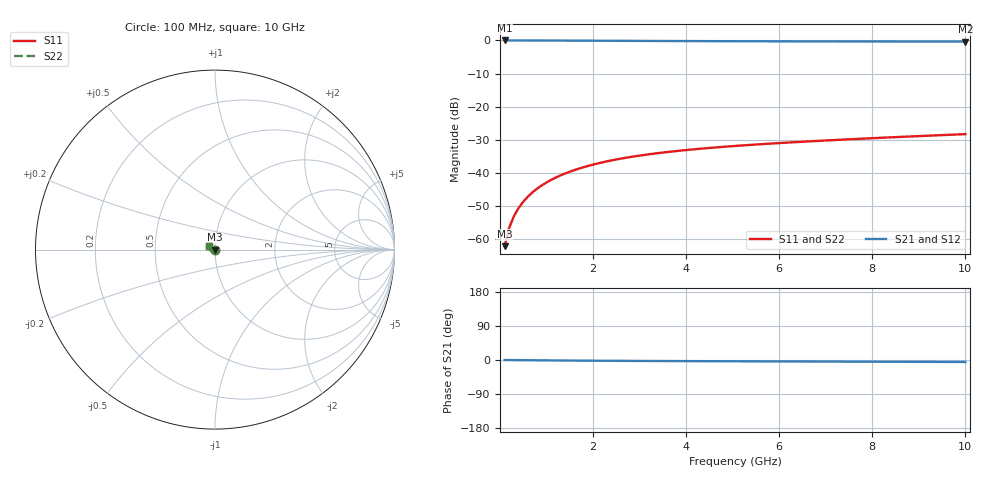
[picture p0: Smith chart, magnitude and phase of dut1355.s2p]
! Touchstone file exported from HFSS 2024.1.0
!  File:  C:/UserFiles/LocalFiles/RDL_TSV_Batchsim/temp_TSV1_1355_1780377680.aedt
!  Generated:  01:27:45 PM Jun  2, 2026
!  Design:  TSV1
!  Project:  temp_TSV1_1355_1780377680
!  Setup:  Setup1
!  Solution:  Sweep
! Variables:
!  dtsv = 6.84um
!  hbump = 3um
!  htsv = 77.57um
!  lrdl = 252.1521522um
!  p = 40
!  p1 = 50.36um
!  t = 500um
!  trdl = 3um
!  wrdl = 24.89489489um
# GHz S MA R 50.000000
! Terminal data exported
! Port[1] = TSV22_T1
! Port[2] = TSV22_T2
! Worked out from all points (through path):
!   100 points, 100 MHz to 10 GHz, reference 50 ohm
!   highest |S21| = 0.00 dB at 100 MHz (marker M1); lowest = -0.3 dB at 10 GHz (marker M2)
!   lowest |S11| = -62.1 dB at 100 MHz (marker M3), VSWR 1.00, Z = 50 - j0.0738 ohm
!   |S11| at or under -10 dB: start of sweep to end of sweep
!   |S22| runs from -62.1 to -28.3 dB; largest |S21 - S12| = 5.2e-15
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0.1  0.0007868 -69.6  0.9997 -0.1  0.9997 -0.1  0.0007868 -69.6
! Gamma 0 0 0 0
! Port Impedance 50 0 50 0
0.2  0.001501 -82.5  0.9996 -0.2  0.9996 -0.2  0.001501 -82.5
0.3  0.002228 -88.5  0.9994 -0.3  0.9994 -0.3  0.002228 -88.5
0.4  0.002955 -92.5  0.9992 -0.4  0.9992 -0.4  0.002955 -92.5
0.5  0.003679 -95.7  0.999 -0.5  0.999 -0.5  0.003679 -95.7
0.6  0.004398 -98.5  0.9987 -0.6  0.9987 -0.6  0.004398 -98.5
0.7  0.00511 -101.2  0.9984 -0.7  0.9984 -0.7  0.00511 -101.2
0.8  0.005814 -103.6  0.998 -0.8  0.998 -0.8  0.005814 -103.6
0.9  0.006509 -105.9  0.9975 -0.9  0.9975 -0.9  0.006509 -105.9
1.1  0.007869 -110.4  0.9966 -1.1  0.9966 -1.1  0.007869 -110.4
1.4  0.009823 -116.7  0.9949 -1.4  0.9949 -1.4  0.009823 -116.7
1.6  0.01106 -120.6  0.9936 -1.5  0.9936 -1.5  0.01106 -120.6
1.8  0.01225 -124.4  0.9923 -1.7  0.9923 -1.7  0.01225 -124.4
2.1  0.01393 -129.9  0.9903 -1.9  0.9903 -1.9  0.01393 -129.9
2.5  0.01599 -136.7  0.9875 -2.2  0.9875 -2.2  0.01599 -136.7
2.9  0.01786 -143.1  0.9848 -2.4  0.9848 -2.4  0.01786 -143.1
3.4  0.01996 -150.4  0.9816 -2.7  0.9816 -2.7  0.01996 -150.4
4.2  0.02288 -160.7  0.9771 -3.1  0.9771 -3.1  0.02288 -160.7
5.1  0.02573 -170.8  0.973 -3.4  0.973 -3.4  0.02573 -170.8
6.7  0.03016 174.6  0.9677 -4.0  0.9677 -4.0  0.03016 174.6
8.4  0.03452 162.4  0.9639 -4.6  0.9639 -4.6  0.03452 162.4
10  0.03855 153.2  0.9614 -5.2  0.9614 -5.2  0.03855 153.2
